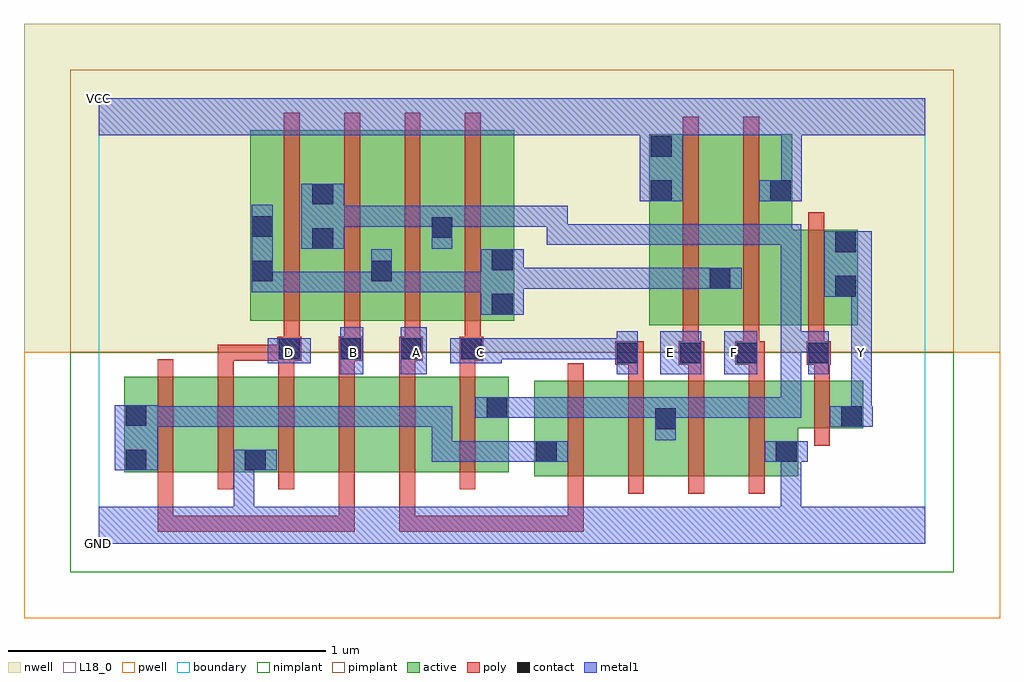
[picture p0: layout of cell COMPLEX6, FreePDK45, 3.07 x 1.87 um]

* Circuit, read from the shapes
.subckt COMPLEX6 A B C D E F GND VCC Y
M1 n1 B n2 VSUBS nfet w=0.3u l=0.05u
M2 GND D n1 VSUBS nfet w=0.3u l=0.05u
M3 n3 D GND VSUBS nfet w=0.3u l=0.05u
M4 n4 B n3 VSUBS nfet w=0.3u l=0.05u
M5 n5 A n4 VSUBS nfet w=0.3u l=0.05u
M6 n6 C n5 VSUBS nfet w=0.3u l=0.05u
M7 n7 A n2 VSUBS nfet w=0.3u l=0.05u
M8 n6 C n7 VSUBS nfet w=0.3u l=0.05u
M9 n8 E n6 VSUBS nfet w=0.3u l=0.05u
M10 GND F n8 VSUBS nfet w=0.3u l=0.05u
M11 Y n6 GND VSUBS nfet w=0.15u l=0.05u
M12 n6 D n9 n10 pfet w=0.6u l=0.05u
M13 n9 B n6 n10 pfet w=0.6u l=0.05u
M14 n6 A n9 n10 pfet w=0.6u l=0.05u
M15 n9 C n6 n10 pfet w=0.6u l=0.05u
M16 n9 E VCC n10 pfet w=0.6u l=0.05u
M17 VCC F n9 n10 pfet w=0.6u l=0.05u
M18 Y n6 VCC n10 pfet w=0.3u l=0.05u
.ends

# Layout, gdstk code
import gdstk
lib = gdstk.Library(unit=1e-6, precision=1e-09)
def R(c, l, rs):  # rectangles x0, y0, x1, y1
    for r in rs: c.add(gdstk.rectangle(r[:2], r[2:], *l))
def A(c, l, x, y, w, h, nx, ny, dx, dy):  # array of equal rectangles
    R(c, l, [(x+i*dx, y+j*dy, x+i*dx+w, y+j*dy+h) for i in range(nx) for j in range(ny)])
active = (1, 0)
pwell = (2, 0)
nwell = (3, 0)
nimplant = (4, 0)
pimplant = (5, 0)
poly = (9, 0)
contact = (10, 0)
metal1 = (11, 0)
L18_0 = (18, 0)
boundary = (235, 0)

complex6 = lib.new_cell('COMPLEX6')
R(complex6, active, [(1.37,0.212,1.595,0.512), (1.37,0.212,1.445,0.512), (1.595,0.212,1.82,0.512), (1.745,0.212,1.975,0.512), (1.975,0.212,2.2,0.512), (2.125,0.212,2.2,0.362), (0.08,0.225,0.305,0.525), (0.08,0.225,0.155,0.525), (0.305,0.225,0.53,0.525), (0.455,0.225,0.685,0.525), (0.455,0.225,0.53,0.517), (0.685,0.225,0.875,0.525), (0.875,0.225,1.065,0.525), (1.065,0.225,1.29,0.525), (1.745,0.232,1.82,0.43), (1.215,0.247,1.29,0.525), (2.125,0.362,2.405,0.512), (2.33,0.362,2.405,0.512), (1.732,0.687,1.992,1.287), (1.917,0.687,2.182,1.287), (1.917,0.687,1.992,1.07), (2.107,0.687,2.387,0.987), (2.312,0.687,2.387,0.987), (0.477,0.7,0.742,1.3), (0.477,0.7,0.552,1.2), (0.667,0.7,0.927,1.3), (0.852,0.7,1.117,1.3), (1.042,0.7,1.307,1.3), (1.232,0.7,1.307,1.07), (2.107,0.702,2.182,1.147), (0.667,0.707,0.742,1.2), (0.852,0.707,0.927,1.07), (1.042,0.707,1.117,1.2), (1.732,0.707,1.807,1.287)])
R(complex6, pwell, [(-0.235,-0.235,2.835,0.602)])
R(complex6, nwell, [(-0.235,0.602,2.835,1.635)])
R(complex6, nimplant, [(-0.09,-0.09,2.69,0.602)])
R(complex6, pimplant, [(-0.09,0.602,2.69,1.49)])
A(complex6, poly, 1.475, 0.157, 0.05, 0.41, 4, 1, 0.19, 0)
A(complex6, poly, 0.185, 0.17, 0.05, 0.41, 6, 1, 0.19, 0)
A(complex6, poly, 1.665, 0.517, 0.05, 0.095, 3, 1, 0.19, 0)
A(complex6, poly, 0.375, 0.53, 0.05, 0.095, 5, 1, 0.19, 0)
A(complex6, poly, 0.755, 0.575, 0.075, 0.075, 3, 1, 0.19, 0)
A(complex6, poly, 0.582, 0.6, 0.05, 0.095, 4, 1, 0.19, 0)
A(complex6, poly, 0.582, 0.645, 0.05, 0.71, 4, 1, 0.19, 0)
R(complex6, poly, [(0.185,0.037,0.235,0.087), (0.185,0.037,0.235,0.087), (0.185,0.037,0.235,0.087), (0.185,0.037,0.235,0.22), (0.185,0.037,0.367,0.087), (0.317,0.037,0.367,0.087), (0.317,0.037,0.557,0.087), (0.507,0.037,0.557,0.087), (0.507,0.037,0.557,0.087), (0.507,0.037,0.557,0.087), (0.507,0.037,0.805,0.087), (0.755,0.037,0.805,0.087), (0.755,0.037,0.805,0.087), (0.755,0.037,0.805,0.087), (0.755,0.037,0.805,0.22), (0.945,0.037,0.995,0.087), (0.945,0.037,0.995,0.087), (0.945,0.037,0.995,0.087), (0.945,0.037,1.342,0.087), (0.945,0.037,0.995,0.22), (1.292,0.037,1.342,0.087), (1.292,0.037,1.342,0.087), (1.292,0.037,1.342,0.087), (1.292,0.037,1.525,0.087), (1.475,0.037,1.525,0.207), (1.475,0.037,1.525,0.087), (1.475,0.037,1.525,0.087), (1.475,0.037,1.525,0.087), (2.25,0.307,2.3,0.567), (2.25,0.517,2.3,0.612), (1.625,0.562,1.715,0.637), (1.825,0.562,1.905,0.637), (2.002,0.562,2.095,0.637), (2.227,0.562,2.302,0.637), (0.375,0.575,0.425,0.625), (0.375,0.575,0.612,0.625), (0.562,0.575,0.637,0.65), (0.562,0.575,0.612,0.625), (0.562,0.575,0.612,0.625), (1.837,0.587,1.887,0.682), (2.027,0.587,2.077,0.682), (2.232,0.587,2.282,0.682), (1.837,0.632,1.887,1.342), (2.027,0.632,2.077,1.342), (2.232,0.632,2.282,1.042)])
A(complex6, contact, 0.76, 0.58, 0.065, 0.065, 3, 1, 0.19, 0)
R(complex6, contact, [(0.085,0.23,0.15,0.295), (0.46,0.23,0.525,0.295), (1.375,0.257,1.44,0.322), (2.13,0.257,2.195,0.322), (1.75,0.36,1.815,0.425), (2.335,0.367,2.4,0.432), (0.085,0.37,0.15,0.435), (1.22,0.395,1.285,0.46), (1.63,0.567,1.695,0.632), (1.83,0.567,1.895,0.632), (2.007,0.567,2.072,0.632), (2.232,0.567,2.297,0.632), (0.567,0.58,0.632,0.645), (1.237,0.72,1.302,0.785), (2.317,0.777,2.382,0.842), (1.922,0.802,1.987,0.867), (0.482,0.825,0.547,0.89), (0.857,0.825,0.922,0.89), (1.237,0.86,1.302,0.925), (2.317,0.917,2.382,0.982), (0.672,0.927,0.737,0.992), (1.047,0.962,1.112,1.027), (0.482,0.965,0.547,1.03), (0.672,1.067,0.737,1.132), (1.737,1.077,1.802,1.142), (2.112,1.077,2.177,1.142), (1.737,1.217,1.802,1.282)])
R(complex6, metal1, [(0,0,2.6,0.115), (0.425,0.05,0.49,0.115), (0.425,0.05,0.49,0.115), (0.425,0.05,0.49,0.295), (2.145,0.05,2.21,0.322), (0.05,0.23,0.185,0.435), (0.425,0.23,0.56,0.295), (1.047,0.257,1.112,0.322), (1.047,0.257,1.25,0.322), (1.047,0.257,1.112,0.432), (1.185,0.257,1.25,0.322), (1.185,0.257,1.25,0.322), (1.185,0.257,1.25,0.322), (1.185,0.257,1.405,0.322), (1.34,0.257,1.475,0.322), (2.095,0.257,2.23,0.322), (2.145,0.257,2.21,0.322), (2.145,0.257,2.21,0.322), (1.75,0.325,1.815,0.46), (0.12,0.367,0.185,0.432), (0.12,0.367,0.185,0.432), (0.12,0.367,0.322,0.432), (0.257,0.367,0.322,0.432), (0.257,0.367,0.322,0.432), (0.257,0.367,0.322,0.432), (0.257,0.367,0.46,0.432), (0.395,0.367,0.46,0.432), (0.395,0.367,0.46,0.432), (0.395,0.367,0.46,0.432), (0.395,0.367,0.785,0.432), (0.72,0.367,0.785,0.432), (0.72,0.367,0.785,0.432), (0.72,0.367,0.785,0.432), (0.72,0.367,0.922,0.432), (0.857,0.367,0.922,0.432), (0.857,0.367,0.922,0.432), (0.857,0.367,0.922,0.432), (0.857,0.367,1.112,0.432), (1.047,0.367,1.112,0.432), (2.3,0.367,2.435,0.432), (2.367,0.367,2.432,0.597), (1.185,0.395,1.32,0.46), (1.255,0.395,1.475,0.46), (1.41,0.395,1.475,0.46), (1.41,0.395,1.475,0.46), (1.41,0.395,1.475,0.46), (1.41,0.395,1.612,0.46), (1.547,0.395,1.612,0.46), (1.547,0.395,1.612,0.46), (1.547,0.395,1.612,0.46), (1.547,0.395,1.815,0.46), (1.75,0.395,1.815,0.46), (1.75,0.395,1.815,0.46), (1.75,0.395,2.005,0.46), (1.94,0.395,2.005,0.46), (1.94,0.395,2.005,0.46), (1.94,0.395,2.005,0.46), (1.94,0.395,2.21,0.46), (2.145,0.395,2.21,0.46), (2.145,0.395,2.21,0.667), (0.76,0.532,0.832,0.68), (0.95,0.532,1.032,0.68), (1.63,0.532,1.695,0.667), (1.767,0.532,1.895,0.667), (1.967,0.532,2.072,0.667), (2.232,0.532,2.297,0.667), (2.367,0.532,2.432,0.667), (0.532,0.567,0.667,0.645), (1.105,0.567,1.267,0.645), (1.202,0.58,1.267,0.645), (1.202,0.58,1.267,0.645), (1.202,0.58,1.475,0.645), (1.41,0.58,1.475,0.645), (1.41,0.58,1.475,0.645), (1.41,0.58,1.475,0.645), (1.41,0.58,1.63,0.645), (1.565,0.58,1.63,0.645), (1.565,0.58,1.695,0.645), (2.145,0.602,2.297,0.667), (2.145,0.602,2.21,0.667), (2.145,0.602,2.21,1.005), (2.367,0.602,2.432,0.842), (1.202,0.72,1.337,0.925), (2.282,0.777,2.432,0.982), (0.482,0.79,0.547,0.855), (0.482,0.79,0.547,0.855), (0.482,0.79,0.685,0.855), (0.482,0.79,0.547,1.065), (0.62,0.79,0.685,0.855), (0.62,0.79,0.685,0.855), (0.62,0.79,0.685,0.855), (0.62,0.79,0.922,0.855), (0.857,0.79,0.922,0.925), (0.857,0.79,0.922,0.855), (0.857,0.79,0.922,0.855), (0.857,0.79,1.112,0.855), (1.047,0.79,1.112,0.855), (1.047,0.79,1.267,0.855), (1.202,0.79,1.267,0.855), (1.202,0.79,1.267,0.855), (1.272,0.802,1.475,0.867), (1.41,0.802,1.475,0.867), (1.41,0.802,1.475,0.867), (1.41,0.802,1.475,0.867), (1.41,0.802,1.612,0.867), (1.547,0.802,1.612,0.867), (1.547,0.802,1.612,0.867), (1.547,0.802,1.612,0.867), (1.547,0.802,1.767,0.867), (1.702,0.802,1.767,0.867), (1.702,0.802,1.767,0.867), (1.702,0.802,1.767,0.867), (1.702,0.802,1.952,0.867), (1.887,0.802,2.022,0.867), (0.637,0.927,0.772,1.132), (1.047,0.927,1.112,1.062), (1.41,0.94,1.612,1.005), (1.41,0.94,1.475,1.062), (1.547,0.94,1.612,1.005), (1.547,0.94,1.612,1.005), (1.547,0.94,1.612,1.005), (1.547,0.94,1.815,1.005), (1.75,0.94,1.815,1.005), (1.75,0.94,1.815,1.005), (1.75,0.94,1.815,1.005), (1.75,0.94,2.005,1.005), (1.94,0.94,2.005,1.005), (1.94,0.94,2.16,1.005), (2.095,0.94,2.16,1.005), (2.095,0.94,2.21,1.005), (2.145,0.94,2.21,1.005), (2.145,0.94,2.21,1.005), (2.145,0.94,2.21,1.005), (0.707,0.997,0.772,1.062), (0.707,0.997,0.772,1.062), (0.707,0.997,0.975,1.062), (0.91,0.997,0.975,1.062), (0.91,0.997,0.975,1.062), (0.91,0.997,0.975,1.062), (0.91,0.997,1.112,1.062), (1.047,0.997,1.267,1.062), (1.202,0.997,1.267,1.062), (1.202,0.997,1.267,1.062), (1.202,0.997,1.267,1.062), (1.202,0.997,1.475,1.062), (1.41,0.997,1.475,1.062), (1.41,0.997,1.475,1.062), (1.702,1.077,1.837,1.282), (2.077,1.077,2.212,1.142), (2.147,1.077,2.212,1.35), (1.772,1.217,1.837,1.35), (0,1.285,2.6,1.4)])
A(complex6, L18_0, 0.567, 0.567, 0.065, 0.065, 4, 1, 0.2, 0)
R(complex6, L18_0, [(0,0,2.6,0.115), (0.425,0.05,0.49,0.115), (0.425,0.05,0.49,0.115), (0.425,0.05,0.49,0.295), (2.145,0.05,2.21,0.322), (0.425,0.23,0.56,0.295), (2.095,0.257,2.23,0.322), (2.145,0.257,2.21,0.322), (2.145,0.257,2.21,0.322), (2.3,0.367,2.435,0.432), (2.367,0.367,2.432,0.597), (0.76,0.532,0.832,0.68), (0.95,0.532,1.032,0.68), (1.63,0.532,1.695,0.667), (1.767,0.532,1.895,0.667), (1.967,0.532,2.072,0.667), (2.367,0.532,2.432,0.667), (0.532,0.567,0.667,0.645), (1.105,0.567,1.267,0.645), (1.767,0.567,1.832,0.632), (1.967,0.567,2.032,0.632), (2.367,0.567,2.432,0.632), (1.202,0.58,1.267,0.645), (1.202,0.58,1.267,0.645), (1.202,0.58,1.475,0.645), (1.41,0.58,1.475,0.645), (1.41,0.58,1.475,0.645), (1.41,0.58,1.475,0.645), (1.41,0.58,1.63,0.645), (1.565,0.58,1.63,0.645), (1.565,0.58,1.695,0.645), (2.367,0.602,2.432,0.842), (2.282,0.777,2.432,0.982), (1.702,1.077,1.837,1.282), (2.077,1.077,2.212,1.142), (2.147,1.077,2.212,1.35), (1.772,1.217,1.837,1.35), (0,1.285,2.6,1.4)])
R(complex6, boundary, [(0,0,2.6,1.4)])
complex6.add(gdstk.Label('A', (1,0.6), layer=11, texttype=0))
complex6.add(gdstk.Label('B', (0.8,0.6), layer=11, texttype=0))
complex6.add(gdstk.Label('C', (1.2,0.6), layer=11, texttype=0))
complex6.add(gdstk.Label('D', (0.6,0.6), layer=11, texttype=0))
complex6.add(gdstk.Label('E', (1.8,0.6), layer=11, texttype=0))
complex6.add(gdstk.Label('F', (2,0.6), layer=11, texttype=0))
complex6.add(gdstk.Label('Y', (2.4,0.6), layer=11, texttype=0))
complex6.add(gdstk.Label('VCC', (0,1.4), layer=11, texttype=0))
complex6.add(gdstk.Label('GND', (0,0), layer=11, texttype=0))

lib.write_gds('COMPLEX6.gds')
